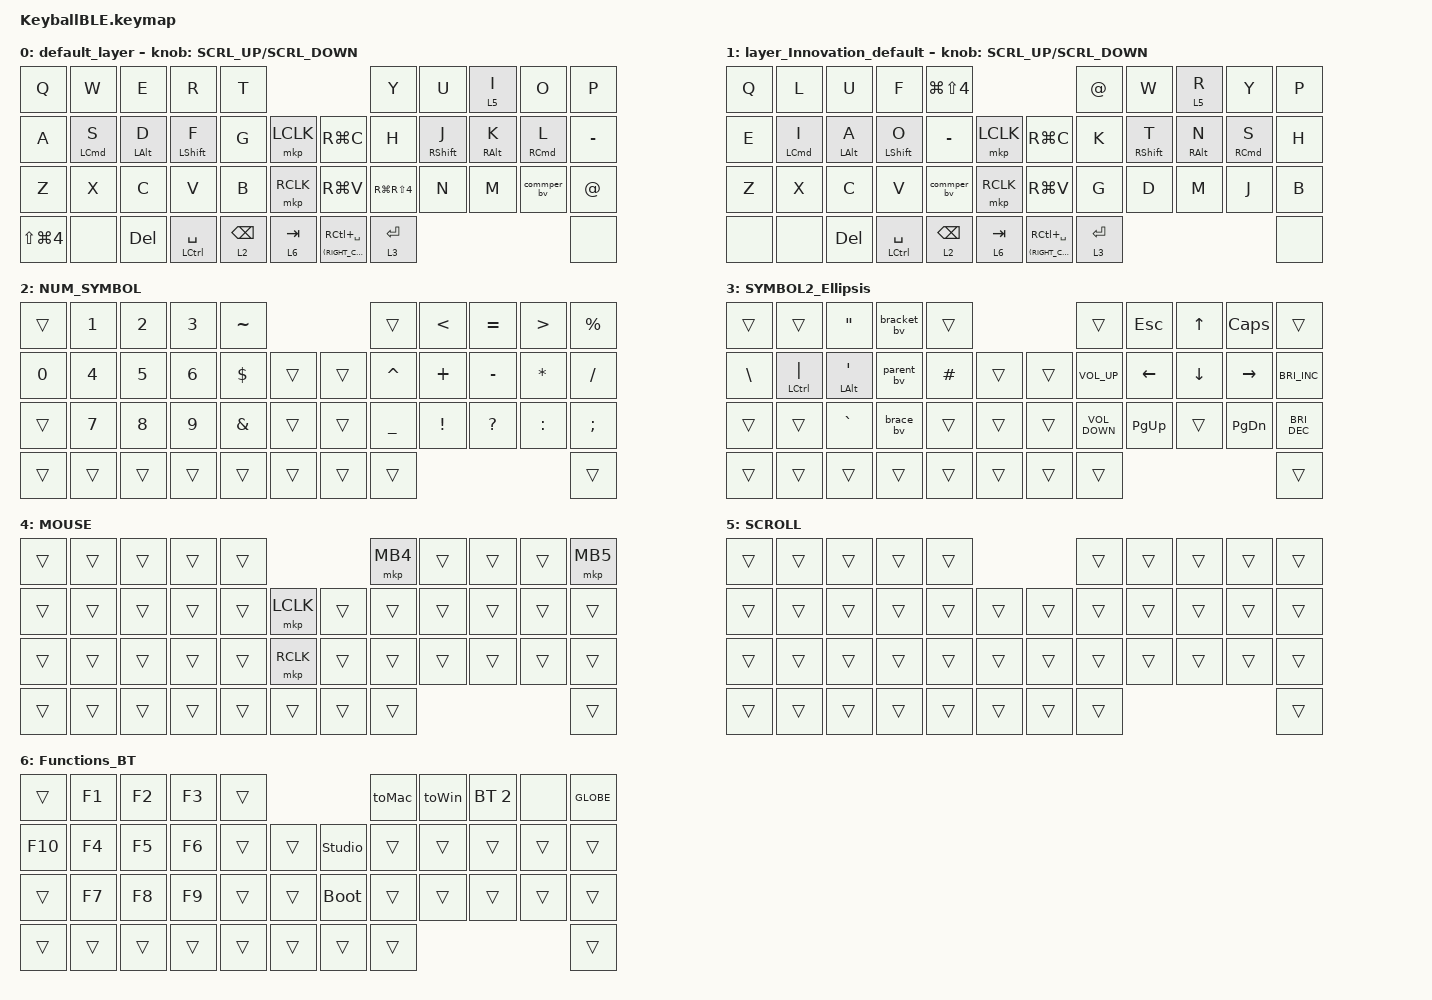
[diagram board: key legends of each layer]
#define ZMK_POINTING_DEFAULT_SCRL_VAL 120    // default: 10

#include <behaviors.dtsi>
#include <dt-bindings/zmk/bt.h>
#include <dt-bindings/zmk/keys.h>
#include <dt-bindings/zmk/pointing.h>

#define MOUSE 4
#define SCROLL 5
#define NUM 6

&mt {
    flavor = "balanced";
    quick-tap-ms = <0>;
};

&key_repeat {
};

&lt {
    tapping-term-ms = <150>;
    hold-trigger-key-positions = <30 31 7 18 19 20 10 1 2 3 12 11 13 23 24 25 4 14 26 21 32 17 29>;
    flavor = "balanced";
};

/ {
    combos {
        compatible = "zmk,combos";

        double_quotation {
            bindings = <&kp DOUBLE_QUOTES>;
            key-positions = <20 21>;
        };
    };

    macros {
        SSOID: SSOID {
            compatible = "zmk,behavior-macro";
            #binding-cells = <0>;
            bindings = <&kp N2 &kp N5 &kp N0 &kp N0 &kp N1 &kp N1 &kp N0 &kp N8 &kp N6>;
            label = "SSOID";
            tap-ms = <11>;
            wait-ms = <11>;
        };

        SSO_PASS: SSO_PASS {
            compatible = "zmk,behavior-macro";
            #binding-cells = <0>;
            bindings = <&kp LS(K) &kp E &kp I &kp S &kp U &kp K &kp E &kp N0 &kp N7 &kp N1 &kp N7 &kp LS(G) &kp LS(E) &kp LS(H) &kp LS(C)>;
            label = "SSO_PASS";
            wait-ms = <11>;
            tap-ms = <11>;
        };

        toMac: toMac {
            compatible = "zmk,behavior-macro";
            #binding-cells = <0>;
            bindings = <&bt BT_SEL 0>, <&macro_wait_time 20>, <&tog 1>;

            label = "toMac";
        };

        toWin: toWin {
            compatible = "zmk,behavior-macro";
            #binding-cells = <0>;
            bindings = <&bt BT_SEL 1>, <&macro_wait_time 20>, <&tog 1>;

            label = "TOWIN";
        };

        bracket_pair: paren_pair {
            compatible = "zmk,behavior-macro";
            #binding-cells = <0>;
            bindings =
                <&kp LEFT_BRACKET>,
                <&macro_wait_time 11>,
                <&kp RIGHT_BRACKET>,
                <&macro_wait_time 11>,
                <&kp LEFT>;

            label = "PAREN_PAIR";
        };

        parent_pair: parent_pair {
            compatible = "zmk,behavior-macro";
            #binding-cells = <0>;
            bindings =
                <&kp LEFT_PARENTHESIS>,
                <&macro_wait_time 11>,
                <&kp RIGHT_PARENTHESIS>,
                <&macro_wait_time 11>,
                <&kp LEFT>;

            label = "PARENT_PAIR";
        };

        brace_pair: brace_pair {
            compatible = "zmk,behavior-macro";
            #binding-cells = <0>;
            bindings =
                <&kp LEFT_BRACE>,
                <&macro_wait_time 11>,
                <&kp RIGHT_BRACE>,
                <&macro_wait_time 11>,
                <&kp LEFT>;

            label = "BRACE_PAIR";
        };
    };

    behaviors {
        ROTATE: ROTATE {
            compatible = "zmk,behavior-sensor-rotate-var";
            label = "ROTATE";
            #sensor-binding-cells = <2>;
            bindings = <&msc>, <&msc>;

            tap-ms = <20>;
        };

        bracket_bv: bracket_bv {
            compatible = "zmk,behavior-tap-dance";
            label = "bv_BRACKET";
            #binding-cells = <0>;
            bindings = <&kp LEFT_BRACKET>, <&bracket_pair>, <&kp RIGHT_BRACKET>;

            tapping-term-ms = <150>;
        };

        parent_bv: parent_bv {
            compatible = "zmk,behavior-tap-dance";
            label = "PARENT_BV";
            #binding-cells = <0>;
            bindings =
                <&mt LEFT_SHIFT LEFT_PARENTHESIS>,
                <&parent_pair>,
                <&kp RIGHT_PARENTHESIS>;

            tapping-term-ms = <150>;
        };

        brace_bv: brace_bv {
            compatible = "zmk,behavior-tap-dance";
            label = "BRACE_BV";
            #binding-cells = <0>;
            tapping-term-ms = <150>;
            bindings = <&kp LEFT_BRACE>, <&brace_pair>, <&kp RIGHT_BRACE>;
        };

        commper_bv: commper_bv {
            compatible = "zmk,behavior-tap-dance";
            label = "COMMPER_BV";
            #binding-cells = <0>;
            tapping-term-ms = <200>;
            bindings = <&kp COMMA>, <&kp PERIOD>;
        };
    };

    keymap {
        compatible = "zmk,keymap";

        default_layer {
            bindings = <
&kp Q                 &kp W               &kp E           &kp R                   &kp T                                                          &kp Y                 &kp U              &lt 5 I          &kp O                &kp P
&kp A                 &mt LEFT_COMMAND S  &mt LEFT_ALT D  &mt LEFT_SHIFT F        &kp G            &mkp LCLK      &kp RG(C)                      &kp H                 &mt RIGHT_SHIFT J  &mt RIGHT_ALT K  &mt RIGHT_COMMAND L  &kp MINUS
&kp Z                 &kp X               &kp C           &kp V                   &kp B            &mkp RCLK      &kp RG(V)                      &kp RG(RS(NUMBER_4))  &kp N              &kp M            &commper_bv          &kp AT_SIGN
&kp LS(LG(NUMBER_4))  &none               &kp DELETE      &mt LEFT_CONTROL SPACE  &lt 2 BACKSPACE  &lt 6 TAB      &mt (RIGHT_CONTROL) RC(SPACE)  &lt 3 ENTER                                                                    &none
            >;

            sensor-bindings = <&ROTATE SCRL_UP SCRL_DOWN>;
        };

        layer_Innovation_default {
            bindings = <
&kp Q  &kp L               &kp U           &kp F             &kp LG(LS(NUMBER_4))                                                &kp AT_SIGN  &kp W              &lt 5 R          &kp Y                &kp P
&kp E  &mt LEFT_COMMAND I  &mt LEFT_ALT A  &mt LEFT_SHIFT O  &kp MINUS             &mkp LCLK      &kp RG(C)                      &kp K        &mt RIGHT_SHIFT T  &mt RIGHT_ALT N  &mt RIGHT_COMMAND S  &kp H
&kp Z  &kp X               &kp C           &kp V             &commper_bv           &mkp RCLK      &kp RG(V)                      &kp G        &kp D              &kp M            &kp J                &kp B
&none  &none               &kp DELETE      &mt LCTRL SPACE   &lt 2 BACKSPACE       &lt 6 TAB      &mt (RIGHT_CONTROL) RC(SPACE)  &lt 3 ENTER                                                           &none
            >;

            sensor-bindings = <&ROTATE SCRL_UP SCRL_DOWN>;
        };

        NUM_SYMBOL {
            bindings = <
&trans        &kp NUMBER_1  &kp NUMBER_2  &kp NUMBER_3  &kp TILDE                          &trans          &kp LESS_THAN    &kp EQUAL     &kp GREATER_THAN  &kp PERCENT
&kp NUMBER_0  &kp NUMBER_4  &kp NUMBER_5  &kp NUMBER_6  &kp DOLLAR     &trans      &trans  &kp CARET       &kp PLUS         &kp MINUS     &kp ASTERISK      &kp SLASH
&trans        &kp NUMBER_7  &kp NUMBER_8  &kp NUMBER_9  &kp AMPERSAND  &trans      &trans  &kp UNDERSCORE  &kp EXCLAMATION  &kp QUESTION  &kp COLON         &kp SEMICOLON
&trans        &trans        &trans        &trans        &trans         &trans      &trans  &trans                                                           &trans
            >;
        };

        SYMBOL2_Ellipsis {
            bindings = <
&trans         &trans                 &kp DOUBLE_QUOTES          &bracket_bv  &trans                        &trans             &kp ESCAPE      &kp UP_ARROW    &kp CAPSLOCK     &trans
&kp BACKSLASH  &mt LEFT_CONTROL PIPE  &mt LEFT_ALT SINGLE_QUOTE  &parent_bv   &kp HASH  &trans      &trans  &kp C_VOLUME_UP    &kp LEFT_ARROW  &kp DOWN_ARROW  &kp RIGHT_ARROW  &kp C_BRIGHTNESS_INC
&trans         &trans                 &kp GRAVE                  &brace_bv    &trans    &trans      &trans  &kp C_VOLUME_DOWN  &kp PAGE_UP     &trans          &kp PAGE_DOWN    &kp C_BRIGHTNESS_DEC
&trans         &trans                 &trans                     &trans       &trans    &trans      &trans  &trans                                                              &trans
            >;
        };

        MOUSE {
            bindings = <
&trans  &trans  &trans  &trans  &trans                         &mkp MB4  &trans  &trans  &trans  &mkp MB5
&trans  &trans  &trans  &trans  &trans  &mkp LCLK      &trans  &trans    &trans  &trans  &trans  &trans
&trans  &trans  &trans  &trans  &trans  &mkp RCLK      &trans  &trans    &trans  &trans  &trans  &trans
&trans  &trans  &trans  &trans  &trans  &trans         &trans  &trans                            &trans
            >;
        };

        SCROLL {
            bindings = <
&trans  &trans  &trans  &trans  &trans                      &trans  &trans  &trans  &trans  &trans
&trans  &trans  &trans  &trans  &trans  &trans      &trans  &trans  &trans  &trans  &trans  &trans
&trans  &trans  &trans  &trans  &trans  &trans      &trans  &trans  &trans  &trans  &trans  &trans
&trans  &trans  &trans  &trans  &trans  &trans      &trans  &trans                          &trans
            >;
        };

        Functions_BT {
            bindings = <
&trans   &kp F1  &kp F2  &kp F3  &trans                              &toMac  &toWin  &bt BT_SEL 2  &none   &kp GLOBE
&kp F10  &kp F4  &kp F5  &kp F6  &trans  &trans      &studio_unlock  &trans  &trans  &trans        &trans  &trans
&trans   &kp F7  &kp F8  &kp F9  &trans  &trans      &bootloader     &trans  &trans  &trans        &trans  &trans
&trans   &trans  &trans  &trans  &trans  &trans      &trans          &trans                                &trans
            >;
        };
    };
};
